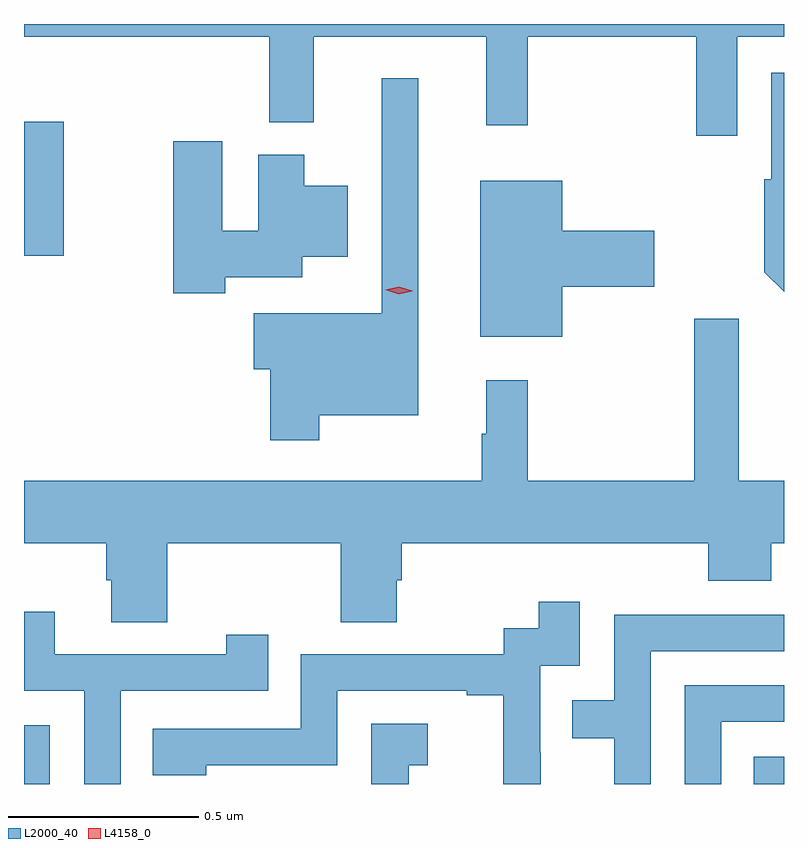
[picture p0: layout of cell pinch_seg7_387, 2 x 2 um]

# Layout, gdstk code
import gdstk
lib = gdstk.Library(unit=1e-6, precision=1e-09)
def R(c, l, rs):  # rectangles x0, y0, x1, y1
    for r in rs: c.add(gdstk.rectangle(r[:2], r[2:], *l))
def P(c, l, *ps):  # polygons
    for p in ps: c.add(gdstk.Polygon(p, *l))
L2000_40 = (2000, 40)
L4158_0 = (4158, 0)

pinch_seg7_387 = lib.new_cell('pinch_seg7_387')
R(pinch_seg7_387, L2000_40, [(375.418,1001.314,375.486,1001.469), (377.338,1001.314,377.418,1001.386), (375.418,1002.704,375.522,1003.057)])
P(pinch_seg7_387, L2000_40, [(377.295,1003.28),(377.418,1003.28),(377.418,1003.314),(375.418,1003.314),(375.418,1003.28),(376.063,1003.28),(376.063,1003.055),(376.181,1003.055),(376.181,1003.28),(376.634,1003.28),(376.634,1003.047),(376.744,1003.047),(376.744,1003.28),(377.187,1003.28),(377.187,1003.02),(377.295,1003.02)],
  [(377.418,1003.186),(377.384,1003.186),(377.384,1002.906),(377.366,1002.906),(377.366,1002.661),(377.418,1002.61)],
  [(376.195,1002.284),(376.456,1002.284),(376.456,1003.171),(376.359,1003.171),(376.359,1002.553),(376.022,1002.553),(376.022,1002.406),(376.066,1002.406),(376.066,1002.219),(376.195,1002.219)],
  [(375.948,1002.647),(376.15,1002.647),(376.15,1002.701),(376.27,1002.701),(376.27,1002.889),(376.156,1002.889),(376.156,1002.97),(376.034,1002.97),(376.034,1002.77),(375.94,1002.77),(375.94,1003.006),(375.811,1003.006),(375.811,1002.605),(375.948,1002.605)],
  [(376.834,1002.623),(377.077,1002.623),(377.077,1002.77),(376.834,1002.77),(376.834,1002.901),(376.619,1002.901),(376.619,1002.491),(376.834,1002.491)],
  [(375.795,1001.948),(376.252,1001.948),(376.252,1001.74),(376.399,1001.74),(376.399,1001.85),(376.412,1001.85),(376.412,1001.948),(377.219,1001.948),(377.219,1001.849),(377.384,1001.849),(377.384,1001.948),(377.418,1001.948),(377.418,1002.112),(377.299,1002.112),(377.299,1002.538),(377.182,1002.538),(377.182,1002.112),(376.744,1002.112),(376.744,1002.376),(376.634,1002.376),(376.634,1002.236),(376.623,1002.236),(376.623,1002.112),(375.418,1002.112),(375.418,1001.948),(375.635,1001.948),(375.635,1001.85),(375.647,1001.85),(375.647,1001.74),(375.795,1001.74)],
  [(376.778,1001.396),(376.776,1001.396),(376.776,1001.625),(376.881,1001.625),(376.881,1001.794),(376.773,1001.794),(376.773,1001.724),(376.68,1001.724),(376.68,1001.655),(376.146,1001.655),(376.146,1001.46),(375.757,1001.46),(375.757,1001.337),(375.897,1001.337),(375.897,1001.364),(376.242,1001.364),(376.242,1001.559),(376.583,1001.559),(376.583,1001.547),(376.679,1001.547),(376.679,1001.314),(376.778,1001.314)],
  [(375.672,1001.559),(376.061,1001.559),(376.061,1001.707),(375.95,1001.707),(375.95,1001.655),(375.499,1001.655),(375.499,1001.767),(375.418,1001.767),(375.418,1001.559),(375.576,1001.559),(375.576,1001.314),(375.672,1001.314)],
  [(377.067,1001.664),(377.418,1001.664),(377.418,1001.76),(376.971,1001.76),(376.971,1001.535),(376.861,1001.535),(376.861,1001.434),(376.971,1001.434),(376.971,1001.314),(377.067,1001.314)],
  [(377.253,1001.478),(377.418,1001.478),(377.418,1001.574),(377.157,1001.574),(377.157,1001.314),(377.253,1001.314)],
  [(376.431,1001.363),(376.48,1001.363),(376.48,1001.473),(376.332,1001.473),(376.332,1001.314),(376.431,1001.314)])
P(pinch_seg7_387, L4158_0, [(376.404,1002.603),(376.369,1002.615),(376.369,1002.615),(376.369,1002.615),(376.405,1002.623),(376.44,1002.612),(376.44,1002.612),(376.44,1002.611)])

lib.write_gds('pinch_seg7_387.gds')
